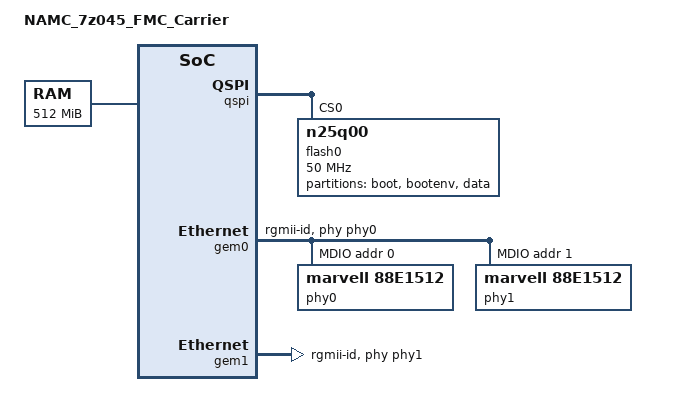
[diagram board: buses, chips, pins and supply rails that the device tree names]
/dts-v1/;
/include/ "system-top.dts.tmp"

/ {
	model = "NAMC_7z045_FMC_Carrier";
	aliases {
		ethernet0 = &gem0;
		serial0 = &uart1;
	};
	chosen {
		bootargs = "console=ttyPS0,115200 root=/dev/ram rw earlyprintk";
	};
	memory {
		device_type = "memory";
		reg = <0x0 0x20000000>;
	};
};

&clkc {
	fclk-enable = <0xf>;
	ps-clk-frequency = <50000000>;
};

&qspi {
	status = "okay";
	#address-cells = <1>;
	#size-cells = <0>;

	flash0: flash@0 {
		#address-cells = <1>;
		#size-cells = <1>;
		compatible = "n25q00", "jedec,spi-nor";
		reg = <0x0>;
		spi-max-frequency = <50000000>;

		partition@0x00000000 {
			label = "boot";
			reg = <0x0 0x500000>;
		};
		partition@0x00500000 {
			label = "bootenv";
			reg = <0x500000 0x20000>;
		};
		partition@0x00520000 {
			label = "data";
			reg = <0x520000 0xae0000>;
		};
	};
};

&gem0 {
	phy-handle = <&phy0>; 
	phy-mode = "rgmii-id";
	local-mac-address = [00 0a 35 00 22 5c];
	enet-reset = <&gpio0 51 0>;
	mdio {
		#address-cells = <1>;
		#size-cells = <0>;
		phy0: phy@0 {
			compatible = "marvell,88e1512";
			device_type = "ethernet-phy";
			reg = <0x0>;
		};
		phy1: phy@1 {
			compatible = "marvell, 88e1512";
			device_type = "ethernet-phy";
			reg = <0x1>;
		};
	};
};

&gem1 {
	status = "okay";
	xlnx,ptp-enet-clock = <0x7f28150>;
	phy-mode = "rgmii-id";
	phy-handle = <&phy1>;
};

/ {
	amba_pl: amba_pl {
		#address-cells = <1>;
		#size-cells = <1>;
		compatible = "simple-bus";
		ranges ;
		panda_pcap_0: panda_pcap@43c00000 {
			compatible = "xlnx,panda-pcap-1.0";
			interrupt-parent = <&intc>;
			interrupts = <0 29 1>;
			reg = <0x43c00000 0x20000>;
			xlnx,s00-axi-addr-width = <0x17>;
			xlnx,s00-axi-data-width = <0x20>;
		};
	};
};
